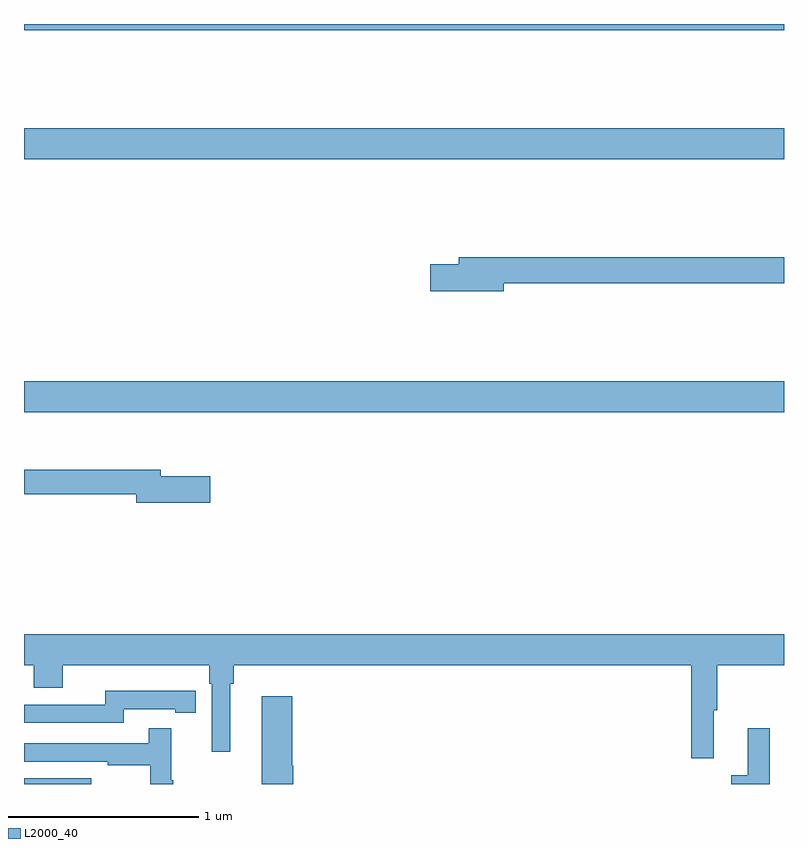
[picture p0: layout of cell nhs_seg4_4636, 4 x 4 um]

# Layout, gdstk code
import gdstk
lib = gdstk.Library(unit=1e-6, precision=1e-09)
def R(c, l, rs):  # rectangles x0, y0, x1, y1
    for r in rs: c.add(gdstk.rectangle(r[:2], r[2:], *l))
def P(c, l, *ps):  # polygons
    for p in ps: c.add(gdstk.Polygon(p, *l))
L2000_40 = (2000, 40)

nhs_seg4_4636 = lib.new_cell('nhs_seg4_4636')
R(nhs_seg4_4636, L2000_40, [(361,758.9,361.354,758.929), (361,760.856,365,761.02), (361,762.188,365,762.352), (361,762.868,365,762.9)])
P(nhs_seg4_4636, L2000_40, [(363.526,761.536),(365,761.536),(365,761.672),(363.287,761.672),(363.287,761.636),(363.138,761.636),(363.138,761.494),(363.526,761.494)],
  [(361.981,760.521),(361.72,760.521),(361.72,760.555),(361,760.555),(361,760.426),(361.592,760.426),(361.592,760.379),(361.981,760.379)],
  [(364.631,759.288),(364.649,759.288),(364.649,759.524),(365,759.524),(365,759.688),(361,759.688),(361,759.524),(361.052,759.524),(361.052,759.407),(361.204,759.407),(361.204,759.524),(361.976,759.524),(361.976,759.428),(361.989,759.428),(361.989,759.069),(362.086,759.069),(362.086,759.428),(362.105,759.428),(362.105,759.524),(364.513,759.524),(364.513,759.036),(364.631,759.036)],
  [(361.524,759.294),(361.796,759.294),(361.796,759.274),(361.904,759.274),(361.904,759.39),(361.796,759.39),(361.796,759.391),(361.428,759.391),(361.428,759.318),(361,759.318),(361,759.222),(361.524,759.222)],
  [(362.416,758.997),(362.411,758.997),(362.411,759.361),(362.252,759.361),(362.252,758.9),(362.416,758.9)],
  [(361.786,758.921),(361.775,758.921),(361.775,759.193),(361.657,759.193),(361.657,759.114),(361,759.114),(361,759.018),(361.441,759.018),(361.441,758.998),(361.665,758.998),(361.665,758.9),(361.786,758.9)],
  [(364.925,759.193),(364.808,759.193),(364.808,758.945),(364.722,758.945),(364.722,758.9),(364.925,758.9)])

lib.write_gds('nhs_seg4_4636.gds')
